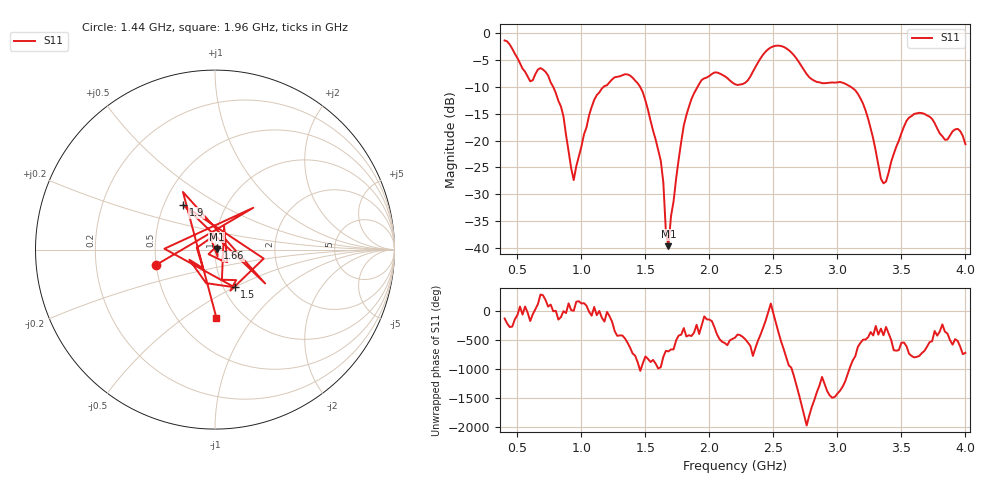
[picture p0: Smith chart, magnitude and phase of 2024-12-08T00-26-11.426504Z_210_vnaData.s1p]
!Created with skrf (http://scikit-rf.org).
# Hz S RI R 50.0
!freq ReS11 ImS11
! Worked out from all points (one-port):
!   181 points, 400 MHz to 4 GHz, reference 50 ohm
!   lowest |S11| = -39.7 dB at 1.68 GHz (marker M1), VSWR 1.02, Z = 50.9 + j0.431 ohm
!   |S11| at or under -10 dB: 780.2 MHz to 1.173 GHz (392.6 MHz wide, 40.2 % of centre); 1.46 GHz to 1.907 GHz (447.6 MHz wide, 26.6 % of centre); 3.105 GHz to end of sweep
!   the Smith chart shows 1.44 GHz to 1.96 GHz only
!   S11 on the Smith chart (normalised r, x): 1.44 GHz: 0.50, -0.10; 1.5 GHz: 1.13, -0.50; 1.66 GHz: 1.02, +0.02; 1.9 GHz: 0.63, +0.34; 1.96 GHz: 0.76, -0.67
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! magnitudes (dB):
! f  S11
! 400 MHz  -1.3
! 600 MHz  -8.9
! 720 MHz  -7.2
! 860 MHz  -15.5
! 940 MHz  -27.4
! 1.1 GHz  -12.4
! 1.3 GHz  -8.0
! 1.44 GHz  -9.3
! 1.5 GHz  -12.5
! 1.62 GHz  -23.8
! 1.64 GHz  -27.8
! 1.66 GHz  -37.0
! 1.68 GHz  -39.7
! 1.76 GHz  -23.5
! 1.82 GHz  -15.3
! 1.9 GHz  -10.3
! 1.96 GHz  -8.4
! 2.2 GHz  -9.5
! 2.48 GHz  -2.6
! 2.66 GHz  -4.1
! 2.82 GHz  -8.8
! 3.1 GHz  -9.9
! 3.22 GHz  -14.4
! 3.36 GHz  -28.0
! 3.56 GHz  -15.7
! 3.84 GHz  -19.8
! 3.94 GHz  -17.8
! 4 GHz  -20.7
